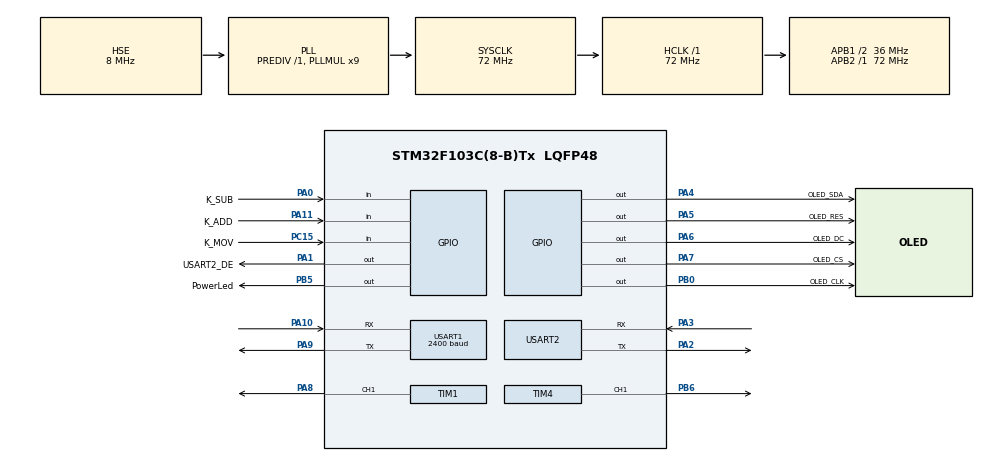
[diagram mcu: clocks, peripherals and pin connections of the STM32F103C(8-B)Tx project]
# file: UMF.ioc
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Dma.Request0=USART1_TX
Dma.Request1=USART1_RX
Dma.Request2=USART2_RX
Dma.Request3=USART2_TX
Dma.USART1_RX.1.Direction=DMA_PERIPH_TO_MEMORY
Dma.USART1_RX.1.Instance=DMA1_Channel5
Dma.USART1_RX.1.MemDataAlignment=DMA_MDATAALIGN_BYTE
Dma.USART1_RX.1.MemInc=DMA_MINC_ENABLE
Dma.USART1_RX.1.Mode=DMA_NORMAL
Dma.USART1_RX.1.PeriphDataAlignment=DMA_PDATAALIGN_BYTE
Dma.USART1_RX.1.PeriphInc=DMA_PINC_DISABLE
Dma.USART1_RX.1.Priority=DMA_PRIORITY_LOW
Dma.USART1_TX.0.Direction=DMA_MEMORY_TO_PERIPH
Dma.USART1_TX.0.Instance=DMA1_Channel4
Dma.USART1_TX.0.MemDataAlignment=DMA_MDATAALIGN_BYTE
Dma.USART1_TX.0.MemInc=DMA_MINC_ENABLE
Dma.USART1_TX.0.Mode=DMA_NORMAL
Dma.USART1_TX.0.PeriphDataAlignment=DMA_PDATAALIGN_BYTE
Dma.USART1_TX.0.PeriphInc=DMA_PINC_DISABLE
Dma.USART1_TX.0.Priority=DMA_PRIORITY_LOW
Dma.USART2_RX.2.Direction=DMA_PERIPH_TO_MEMORY
Dma.USART2_RX.2.Instance=DMA1_Channel6
Dma.USART2_RX.2.MemDataAlignment=DMA_MDATAALIGN_BYTE
Dma.USART2_RX.2.MemInc=DMA_MINC_ENABLE
Dma.USART2_RX.2.Mode=DMA_NORMAL
Dma.USART2_RX.2.PeriphDataAlignment=DMA_PDATAALIGN_BYTE
Dma.USART2_RX.2.PeriphInc=DMA_PINC_DISABLE
Dma.USART2_RX.2.Priority=DMA_PRIORITY_LOW
Dma.USART2_TX.3.Direction=DMA_MEMORY_TO_PERIPH
Dma.USART2_TX.3.Instance=DMA1_Channel7
Dma.USART2_TX.3.MemDataAlignment=DMA_MDATAALIGN_BYTE
Dma.USART2_TX.3.MemInc=DMA_MINC_ENABLE
Dma.USART2_TX.3.Mode=DMA_NORMAL
Dma.USART2_TX.3.PeriphDataAlignment=DMA_PDATAALIGN_BYTE
Dma.USART2_TX.3.PeriphInc=DMA_PINC_DISABLE
Dma.USART2_TX.3.Priority=DMA_PRIORITY_LOW
IWDG.Prescaler=IWDG_PRESCALER_64
IWDG.Reload=624
Mcu.Family=STM32F1
Mcu.Name=STM32F103C(8-B)Tx
Mcu.Package=LQFP48
NVIC.DMA1_Channel4_IRQn=true\:1\:0\:true\:false\:true\:false\:true\:true
NVIC.DMA1_Channel5_IRQn=true\:1\:1\:true\:false\:true\:false\:true\:true
NVIC.DMA1_Channel6_IRQn=true\:2\:0\:true\:false\:true\:false\:true\:true
NVIC.DMA1_Channel7_IRQn=true\:2\:1\:true\:false\:true\:false\:true\:true
NVIC.PriorityGroup=NVIC_PRIORITYGROUP_2
NVIC.TIM3_IRQn=true\:1\:0\:true\:false\:true\:true\:true\:true
NVIC.USART1_IRQn=true\:0\:1\:false\:false\:true\:true\:true\:true
NVIC.USART2_IRQn=true\:1\:2\:true\:false\:true\:true\:true\:true
PA0-WKUP.GPIO_Label=K_SUB
PA0-WKUP.GPIO_PuPd=GPIO_PULLUP
PA0-WKUP.Signal=GPIO_Input
PA1.GPIO_Label=USART2_DE
PA1.GPIO_PuPd=GPIO_PULLUP
PA1.Signal=GPIO_Output
PA10.Mode=Asynchronous
PA10.Signal=USART1_RX
PA11.GPIO_Label=K_ADD
PA11.GPIO_PuPd=GPIO_PULLUP
PA11.Signal=GPIO_Input
PA13.Mode=Serial_Wire
PA13.Signal=SYS_JTMS-SWDIO
PA14.Mode=Serial_Wire
PA14.Signal=SYS_JTCK-SWCLK
PA2.Mode=Asynchronous
PA2.Signal=USART2_TX
PA3.Mode=Asynchronous
PA3.Signal=USART2_RX
PA4.GPIO_Label=OLED_SDA
PA4.GPIO_PuPd=GPIO_PULLUP
PA4.GPIO_Speed=GPIO_SPEED_FREQ_MEDIUM
PA4.PinState=GPIO_PIN_SET
PA4.Signal=GPIO_Output
PA5.GPIO_Label=OLED_RES
PA5.GPIO_PuPd=GPIO_PULLUP
PA5.GPIO_Speed=GPIO_SPEED_FREQ_MEDIUM
PA5.PinState=GPIO_PIN_SET
PA5.Signal=GPIO_Output
PA6.GPIO_Label=OLED_DC
PA6.GPIO_PuPd=GPIO_PULLUP
PA6.GPIO_Speed=GPIO_SPEED_FREQ_MEDIUM
PA6.PinState=GPIO_PIN_SET
PA6.Signal=GPIO_Output
PA7.GPIO_Label=OLED_CS
PA7.GPIO_Speed=GPIO_SPEED_FREQ_MEDIUM
PA7.PinState=GPIO_PIN_SET
PA7.Signal=GPIO_Output
PA8.Signal=S_TIM1_CH1
PA9.Mode=Asynchronous
PA9.Signal=USART1_TX
PB0.GPIO_Label=OLED_CLK
PB0.GPIO_Speed=GPIO_SPEED_FREQ_MEDIUM
PB0.PinState=GPIO_PIN_SET
PB0.Signal=GPIO_Output
PB5.GPIO_Label=PowerLed
PB5.GPIO_PuPd=GPIO_PULLUP
PB5.PinState=GPIO_PIN_SET
PB5.Signal=GPIO_Output
PB6.Signal=S_TIM4_CH1
PC15-OSC32_OUT.GPIO_Label=K_MOV
PC15-OSC32_OUT.GPIO_PuPd=GPIO_PULLUP
PC15-OSC32_OUT.Signal=GPIO_Input
PD0-OSC_IN.Mode=HSE-External-Oscillator
PD0-OSC_IN.Signal=RCC_OSC_IN
PD1-OSC_OUT.Mode=HSE-External-Oscillator
PD1-OSC_OUT.Signal=RCC_OSC_OUT
ProjectManager.HeapSize=0x200
ProjectManager.StackSize=0x800
ProjectManager.TargetToolchain=EWARM V8.32
RCC.AHBFreq_Value=72000000
RCC.APB1CLKDivider=RCC_HCLK_DIV2
RCC.APB1Freq_Value=36000000
RCC.APB1TimFreq_Value=72000000
RCC.APB2Freq_Value=72000000
RCC.APB2TimFreq_Value=72000000
RCC.HCLKFreq_Value=72000000
RCC.PLLMUL=RCC_PLL_MUL9
RCC.PLLSourceVirtual=RCC_PLLSOURCE_HSE
RCC.SYSCLKFreq_VALUE=72000000
RCC.SYSCLKSource=RCC_SYSCLKSOURCE_PLLCLK
RCC.USBFreq_Value=72000000
SH.S_TIM1_CH1.0=TIM1_CH1,PWM Generation1 CH1
SH.S_TIM4_CH1.0=TIM4_CH1,PWM Generation1 CH1
TIM1.AutoReloadPreload=TIM_AUTORELOAD_PRELOAD_ENABLE
TIM1.Channel-PWM\ Generation1\ CH1=TIM_CHANNEL_1
TIM1.Period=255
TIM1.Prescaler=27
TIM1.Pulse-PWM\ Generation1\ CH1=128
TIM3.AutoReloadPreload=TIM_AUTORELOAD_PRELOAD_ENABLE
TIM3.Period=10000-1
TIM3.Prescaler=71
TIM4.AutoReloadPreload=TIM_AUTORELOAD_PRELOAD_ENABLE
TIM4.Channel-PWM\ Generation1\ CH1=TIM_CHANNEL_1
TIM4.Period=255
TIM4.Prescaler=27
TIM4.Pulse-PWM\ Generation1\ CH1=128
USART1.BaudRate=2400
USART1.Parity=PARITY_EVEN
USART1.VirtualMode=VM_ASYNC
USART1.WordLength=WORDLENGTH_9B
USART2.VirtualMode=VM_ASYNC
VP_IWDG_VS_IWDG.Mode=IWDG_Activate
VP_TIM1_VS_ClockSourceINT.Mode=Internal
VP_TIM3_VS_ClockSourceINT.Mode=Internal
VP_TIM4_VS_ClockSourceINT.Mode=Internal
board=custom

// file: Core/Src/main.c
/* USER CODE BEGIN Header */
/**
 ******************************************************************************
 * @file           : main.c
 * @brief          : Main program body
 ******************************************************************************
 * @attention
 *
 * Copyright (c) 2024 STMicroelectronics.
 * All rights reserved.
 *
 * This software is licensed under terms that can be found in the LICENSE file
 * in the root directory of this software component.
 * If no LICENSE file comes with this software, it is provided AS-IS.
 *
 ******************************************************************************
 */
/* USER CODE END Header */
#include "main.h"
#include "dma.h"
#include "iwdg.h"
#include "tim.h"
#include "usart.h"
#include "gpio.h"

/* USER CODE BEGIN Includes */
#include "bmp.h"
#include "key.h"
#include "bsp_menu.h"
#include "param_storage.h"
#include "bsp_usart.h"
#include "boot_flag.h"
#include "run_display.h"
#include "display.h"
#include "cal_table.h"

/* USER CODE END Includes */

/* USER CODE BEGIN PV */

uint16_t    BitControlBuf[50]; // 位控制
uint16_t    DacValueBuf[2];    // da output
SpanTypeDef SpanValueBuf[2];
uint16_t    DacValue;
uint8_t     CalEnabledFlag;
uint8_t     ForceDacOutFlag;
uint8_t     DisplayEnabled = 1;
/* USER CODE END PV */

void SystemClock_Config(void);
/* USER CODE BEGIN PFP */
void  Time_Delay(uint32_t nCount);
void  FlashProtect(void);
void  Data_Init(void);
float ConvertFunc(float pv, float x0, float x1, float y0, float y1);
static void app_key_menu_task(void);
static void app_display_recovery_task(void);
static void app_display_task(void);
static void app_output_task(void);
/* USER CODE END PFP */

/* USER CODE BEGIN 0 */
/**

* @Author: liyongtai
* @description:
* @param {uint32_t} nCount
* @return {*}
*/
void Time_Delay(uint32_t nCount)
{
    for (; nCount != 0; nCount--)
        ;
}
/* USER CODE END 0 */

int main(void)
{

  /* USER CODE BEGIN 1 */
    /* §5.4 启动序列第一步（须在任何外设初始化前）：
     * CSTACK 上界断言 + 读取启动期邮箱快照（40130 回显源）。*/
    boot_flag_init();

  /* USER CODE END 1 */

  /* MCU Configuration--------------------------------------------------------*/

  /* Reset of all peripherals, Initializes the Flash interface and the Systick. */
  HAL_Init();

  /* Configure the system clock */
  SystemClock_Config();

  /* Initialize all configured peripherals */
  MX_GPIO_Init();
  MX_DMA_Init();
  MX_TIM1_Init();
  MX_USART1_UART_Init();
  MX_USART2_UART_Init();
  MX_IWDG_Init();
  MX_TIM3_Init();
  MX_TIM4_Init();
  /* USER CODE BEGIN 2 */
    /* 顺序硬性要求（方案 §5.4 ①）：参数存储初始化（含旧数据迁移）必须早于
     * Data_Init()——后者现在从统一参数存储同步 DAC/Span（store → RAM 镜像）。*/
    param_storage_init();
    Data_Init();
    DacValue = DacZeroValue;/* 初始化为零点值 (4mA)，避免初始输出异常 */
    //DacValue = 800;
    bsp_usart_set_modbus_addr(param_get_modbus_addr());
    bsp_usart2_apply_uart_config(param_get_uart_config());
    key_init();
    menu_init(NULL);
    __HAL_UART_CLEAR_IDLEFLAG(&huart1);
    __HAL_UART_CLEAR_IDLEFLAG(&huart2);
    EnableUart_IT_IDLE(&huart1, &Uart1ReceiveType);
    EnableUart_IT_IDLE(&huart2, &Uart2ReceiveType);
    FlowPassiveReadCmdEnable = 1;
    run_display_init(NULL);  /* NULL = 使用默认配置 (200ms 刷新) */
    /* §5.4 启动序列收尾：参数迁移已确认完成（param_storage_init 返回），
     * 清除邮箱 cmd 并清零 G3 计数。此后发生的复位（看门狗/断电）由 BL
     * 按 App 有效性与 G3 重新判定，不会误入升级模式。*/
    boot_mailbox_clear();

    /* 看门狗守卫初始化：使能 DWT 周期计数，进入主循环后由 iwdg_guard_feed()
     * 统一判定是否刷新 IWDG（全部任务完成 + TIM3 tick 活性）。*/
    iwdg_guard_init();
  /* USER CODE END 2 */

  /* Infinite loop */
    while (1)
    {

    /* USER CODE BEGIN 3 */

        /* 按键事件 + 菜单处理 */
        app_key_menu_task();
        iwdg_guard_task(IWDG_TASK_KEY);

        /* 屏幕抗干扰自愈 */
        app_display_recovery_task();
        iwdg_guard_task(IWDG_TASK_RECOVERY);

        /* 运行显示刷新 (200ms) */
        app_display_task();
        iwdg_guard_task(IWDG_TASK_DISPLAY);

        /* 流量模组 + Modbus 通信 */
        Uart1_Communication();
        iwdg_guard_task(IWDG_TASK_UART1);
        Uart2_Communication();
        iwdg_guard_task(IWDG_TASK_UART2);

        /* 输出处理 (先计算，再输出 PWM) */
        app_output_task();
        iwdg_guard_task(IWDG_TASK_OUTPUT);

        /* 全部任务完成且 TIM3 tick 活性正常才喂狗（驱动内部不再喂狗）*/
        iwdg_guard_feed(DisplayTimeBase);
    }
  /* USER CODE END 3 */
}

void SystemClock_Config(void)
{
  RCC_OscInitTypeDef RCC_OscInitStruct = {0};
  RCC_ClkInitTypeDef RCC_ClkInitStruct = {0};

  /** Initializes the RCC Oscillators according to the specified parameters
  * in the RCC_OscInitTypeDef structure.
  */
  RCC_OscInitStruct.OscillatorType = RCC_OSCILLATORTYPE_LSI|RCC_OSCILLATORTYPE_HSE;
  RCC_OscInitStruct.HSEState = RCC_HSE_ON;
  RCC_OscInitStruct.HSEPredivValue = RCC_HSE_PREDIV_DIV1;
  RCC_OscInitStruct.HSIState = RCC_HSI_ON;
  RCC_OscInitStruct.LSIState = RCC_LSI_ON;
  RCC_OscInitStruct.PLL.PLLState = RCC_PLL_ON;
  RCC_OscInitStruct.PLL.PLLSource = RCC_PLLSOURCE_HSE;
  RCC_OscInitStruct.PLL.PLLMUL = RCC_PLL_MUL9;
  if (HAL_RCC_OscConfig(&RCC_OscInitStruct) != HAL_OK)
  {
    Error_Handler();
  }

  /** Initializes the CPU, AHB and APB buses clocks
  */
  RCC_ClkInitStruct.ClockType = RCC_CLOCKTYPE_HCLK|RCC_CLOCKTYPE_SYSCLK
                              |RCC_CLOCKTYPE_PCLK1|RCC_CLOCKTYPE_PCLK2;
  RCC_ClkInitStruct.SYSCLKSource = RCC_SYSCLKSOURCE_PLLCLK;
  RCC_ClkInitStruct.AHBCLKDivider = RCC_SYSCLK_DIV1;
  RCC_ClkInitStruct.APB1CLKDivider = RCC_HCLK_DIV2;
  RCC_ClkInitStruct.APB2CLKDivider = RCC_HCLK_DIV1;

  if (HAL_RCC_ClockConfig(&RCC_ClkInitStruct, FLASH_LATENCY_2) != HAL_OK)
  {
    Error_Handler();
  }
}

/* USER CODE BEGIN 4 */
/* 优先处理菜单按键，运行页面支持上下翻页 */
static void app_key_menu_task(void)
{
    key_event_t evt = key_get_event();
    menu_status_t menu_st;
#if DISPLAY_ST7789
    uint8_t menu_was_active = menu_is_active();
#endif
    if (menu_process(evt, &menu_st)) {
        /* 菜单已激活并渲染 */
    }
    else if (evt == KEY_UP && !menu_is_active()) {
        run_display_prev_page();
    }
    else if (evt == KEY_DOWN && !menu_is_active()) {
        run_display_next_page();
    }
#if DISPLAY_ST7789
    if (menu_was_active && !menu_is_active()) {
        DisplayTimeBase = 20;
        OledRecoveryTimeBase = 0;
    }
#endif
}

/* 屏幕抗干扰自愈: 周期性重发控制器配置命令，不触发整屏重绘。
 * 间隔由 param_get_oled_recovery_interval() 控制 (单位 100ms, 即 10×10ms)
 * 0 = 禁用; 默认 50 = 5 秒
 * 仅在菜单未激活时执行, 避免重初始化打断菜单交互 */
static void app_display_recovery_task(void)
{
    uint16_t recovery_interval = param_get_oled_recovery_interval();
    if (recovery_interval > 0 &&
        OledRecoveryTimeBase >= (uint16_t)(recovery_interval * 10) &&
        !menu_is_active())
    {
        OledRecoveryTimeBase = 0;
        OLED_Recovery();
    }
}

/* 运行页面刷新：每 200ms 执行一次，菜单激活时暂停 */
static void app_display_task(void)
{
    if ((DisplayTimeBase < 20) || !DisplayEnabled || menu_is_active())
    {
        return;
    }

    DisplayTimeBase = 0;

    Uart_SendfloatTypeDef eff_rate;
    Uart_SendfloatTypeDef eff_temp;
    float flow_rate_lph = effective_flow_rate();
    eff_rate.num = convert_flow_rate_from_lph(
        limit_flow_rate(flow_rate_lph),
        param_get_flow_unit(),
        param_get_medium_density());
    eff_temp.num = effective_temperature();

    const run_display_input_t input = {
        .p_flow_rate      = &eff_rate,
        .p_temperature    = &eff_temp,
        .p_pressure       = &FlowPressure,
        .p_cumulative     = &Cumulativeflow,
        .p_flow_sum_buf   = effective_flow_sum_buf(strFlowSumBuf),
        .p_sum_unit       = &Sumunit,
        .p_module_state   = &ModuleState,
        .p_dac_value      = &DacValue,
        .p_dac_buf        = DacValueBuf,
        .p_flow_unit_str  = param_get_flow_unit_str(param_get_flow_unit()),
        .p_total_unit_str = param_get_total_unit_str(param_get_total_unit()),
        .flow_rate_lph    = flow_rate_lph,
    };

    run_display_render(&input);
    OLED_Present();
}

/* 输出处理：自动计算输出值，再写入硬件 */
static void app_output_task(void)
{
    if ((!ForceDacOutFlag) && (!CalEnabledFlag))
    {
        /* 仪表系数 + 介质系数 */
        float corrected_flow = limit_flow_rate(effective_flow_rate())
            * param_get_meter_coeff()
            * param_get_medium_coeff();

        /* 七点标定修正 */
        corrected_flow = cal_correct_flow(corrected_flow);

        /* DAC 线性换算: corrected_flow → 4~20mA PWM */
        float dac_raw = ConvertFunc(corrected_flow,
            param_get_value_4ma(), param_get_value_20ma(),
            (float)DacZeroValue, (float)DacFullValue);
        /* 限制范围，防止负值或超限值导致 uint16_t 异常 */
        if (dac_raw < (float)DacZeroValue)
        {
            dac_raw = (float)DacZeroValue;
        }
        if (dac_raw > (float)DacFullValue)
        {
            dac_raw = (float)DacFullValue;
        }
        DacValue = (uint16_t)dac_raw;

        /* 小信号切除：流量低于 [量程下限 + 量程×N%] 时输出零点 */
        float span = param_get_value_20ma() - param_get_value_4ma();
        if (span > 0.0f)
        {
            float threshold = span * param_get_small_signal() / 100.0f;
            if (corrected_flow < (param_get_value_4ma() + threshold))
            {
                DacValue = DacZeroValue;
            }
        }
    }

    /* 强制输出或标定模式也需要写入当前输出值 */
    PWMConfig(&htim1, 100000, (uint8_t)(DacValue >> 8));
    PWMConfig(&htim4, 100000, (uint8_t)(DacValue >> 0));
}

/**
 * @Author: liyongtai
 * @description: flash program protect
 * @return {*}
 */
void FlashProtect(void)
{
    FLASH_OBProgramInitTypeDef obInit;
    HAL_FLASHEx_OBGetConfig(&obInit);
    if (obInit.RDPLevel != OB_RDP_LEVEL_1)
    {
        HAL_FLASH_Unlock();
        HAL_FLASH_OB_Unlock();
        obInit.OptionType = OPTIONBYTE_RDP;
        obInit.RDPLevel   = OB_RDP_LEVEL_1;
        HAL_FLASHEx_OBProgram(&obInit);
        HAL_FLASH_OB_Lock();
        HAL_FLASH_Lock();
    }
}
/**
 * @Author: liyongtai
 * @description: 线性处理函数
 * @param {float} pv
 * @param {float} x0
 * @param {float} x1
 * @param {float} y0
 * @param {float} y1
 * @return {*}
 */
float ConvertFunc(float pv, float x0, float x1, float y0, float y1)
{
    float span = x1 - x0;
    if (span == 0.0f) return y0;
    return y0 + (pv - x0) * (y1 - y0) / span;
}
/**
* @Author: liyongtai
* @description: data initialization
* @return {*}
*/
void Data_Init(void)
{
    /* A4 重写：DAC/Span 一律经统一参数存储（param_storage_init 已完成
     * 选页/迁移/载入），方向为 store → RAM 镜像；旧 Page 63/59 直读废弃。*/
    DacValueBuf[0] = param_get_dac_zero();
    DacValueBuf[1] = param_get_dac_full();
    SpanLoValue    = param_get_value_4ma();
    SpanHiValue    = param_get_value_20ma();

    /* Span 默认值保护: 异常值（含迁移缺失回落默认失败）时恢复默认 */
    if (SpanLoValue >= SpanHiValue) { SpanLoValue = 0.0f; SpanHiValue = 100.0f; }

    if (DacZeroValue < 100)
        DacZeroValue = 12100;
    if (!DacFullValue)
        DacFullValue = 60000;
    if (DacZeroValue >= DacFullValue) { DacZeroValue = 12100; DacFullValue = 60000; }
}
/* USER CODE END 4 */

void Error_Handler(void)
{
    __disable_irq();
    while (1)
    {
    }
}
